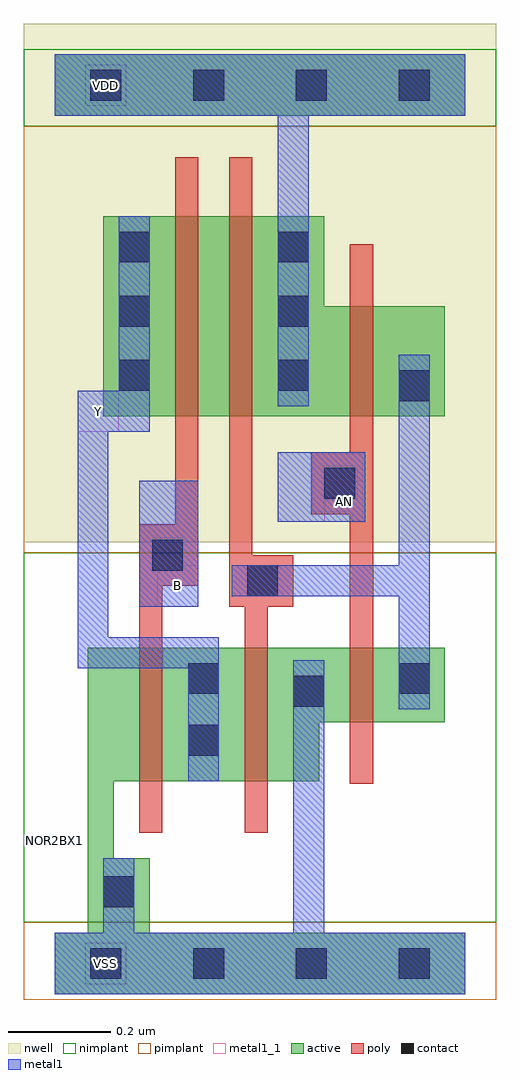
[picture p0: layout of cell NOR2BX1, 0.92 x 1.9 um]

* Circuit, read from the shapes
.subckt NOR2BX1 AN B VDD VSS Y
M1 Y B VSS VSS nfet w=0.26u l=0.045u
M2 VSS n1 Y VSS nfet w=0.26u l=0.045u
M3 n1 AN VSS VSS nfet w=0.145u l=0.045u
M4 n2 B Y VDD pfet w=0.39u l=0.045u
M5 VDD n1 n2 VDD pfet w=0.39u l=0.045u
M6 n1 AN VDD VDD pfet w=0.215u l=0.045u
.ends

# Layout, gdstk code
import gdstk
lib = gdstk.Library(unit=1e-6, precision=5e-10)
def R(c, l, rs):  # rectangles x0, y0, x1, y1
    for r in rs: c.add(gdstk.rectangle(r[:2], r[2:], *l))
def A(c, l, x, y, w, h, nx, ny, dx, dy):  # array of equal rectangles
    R(c, l, [(x+i*dx, y+j*dy, x+i*dx+w, y+j*dy+h) for i in range(nx) for j in range(ny)])
def P(c, l, *ps):  # polygons
    for p in ps: c.add(gdstk.Polygon(p, *l))
active = (1, 0)
nwell = (2, 0)
poly = (3, 0)
nimplant = (4, 0)
pimplant = (5, 0)
contact = (6, 0)
metal1 = (7, 0)
metal1_1 = (7, 1)

nor2bx1 = lib.new_cell('NOR2BX1')
R(nor2bx1, active, [(0,1.65,0.8,1.77)])
P(nor2bx1, active, [(0.8,0.06),(0.185,0.06),(0.185,0.205),(0.115,0.205),(0.115,0.355),(0.515,0.355),(0.515,0.47),(0.76,0.47),(0.76,0.615),(0.065,0.615),(0.065,0.06),(0,0.06),(0,-0.06),(0.8,-0.06)],
  [(0.76,1.28),(0.525,1.28),(0.525,1.455),(0.095,1.455),(0.095,1.065),(0.76,1.065)])
R(nor2bx1, nwell, [(-0.06,0.82,0.86,1.83)])
P(nor2bx1, poly, [(0.62,1.4),(0.575,1.4),(0.575,0.995),(0.5,0.995),(0.5,0.875),(0.575,0.875),(0.575,0.35),(0.62,0.35)],
  [(0.465,0.795),(0.385,0.795),(0.385,1.57),(0.34,1.57),(0.34,0.695),(0.37,0.695),(0.37,0.255),(0.415,0.255),(0.415,0.695),(0.465,0.695)],
  [(0.28,1.57),(0.235,1.57),(0.235,0.855),(0.165,0.855),(0.165,0.255),(0.21,0.255),(0.21,0.735),(0.28,0.735)])
R(nor2bx1, nimplant, [(-0.06,0.08,0.86,0.8), (-0.06,1.63,0.86,1.78)])
R(nor2bx1, pimplant, [(-0.06,-0.07,0.86,0.08), (-0.06,0.8,0.86,1.63)])
A(nor2bx1, contact, 0.07, -0.03, 0.06, 0.06, 4, 2, 0.2, 1.71)
A(nor2bx1, contact, 0.125, 1.115, 0.06, 0.06, 1, 3, 0, 0.125)
A(nor2bx1, contact, 0.435, 1.115, 0.06, 0.06, 1, 3, 0, 0.125)
R(nor2bx1, contact, [(0.095,0.11,0.155,0.17), (0.26,0.405,0.32,0.465), (0.465,0.5,0.525,0.56), (0.26,0.525,0.32,0.585), (0.67,0.525,0.73,0.585), (0.375,0.715,0.435,0.775), (0.19,0.765,0.25,0.825), (0.525,0.905,0.585,0.965), (0.67,1.095,0.73,1.155)])
R(nor2bx1, metal1, [(0.165,0.695,0.28,0.94), (0.435,0.86,0.605,0.995)])
P(nor2bx1, metal1, [(0.8,1.77),(0,1.77),(0,1.65),(0.435,1.65),(0.435,1.085),(0.495,1.085),(0.495,1.65),(0.8,1.65)],
  [(0.73,1.185),(0.67,1.185),(0.67,0.775),(0.345,0.775),(0.345,0.715),(0.67,0.715),(0.67,0.495),(0.73,0.495)],
  [(0.8,0.06),(0.525,0.06),(0.525,0.59),(0.465,0.59),(0.465,0.06),(0.155,0.06),(0.155,0.205),(0.095,0.205),(0.095,0.06),(0,0.06),(0,-0.06),(0.8,-0.06)],
  [(0.32,0.635),(0.105,0.635),(0.105,1.035),(0.185,1.035),(0.185,1.455),(0.125,1.455),(0.125,1.115),(0.045,1.115),(0.045,0.575),(0.26,0.575),(0.26,0.355),(0.32,0.355)])
R(nor2bx1, metal1_1, [(0.06,-0.04,0.14,0.04), (0.2,0.695,0.28,0.775), (0.525,0.86,0.605,0.94), (0.045,1.035,0.125,1.115), (0.06,1.67,0.14,1.75)])
nor2bx1.add(gdstk.Label('VSS', (0.1,0), layer=7, texttype=1))
nor2bx1.add(gdstk.Label('B', (0.24,0.735), layer=7, texttype=1))
nor2bx1.add(gdstk.Label('Y', (0.085,1.075), layer=7, texttype=1))
nor2bx1.add(gdstk.Label('AN', (0.565,0.9), layer=7, texttype=1))
nor2bx1.add(gdstk.Label('VDD', (0.1,1.71), layer=7, texttype=1))
nor2bx1.add(gdstk.Label('NOR2BX1', (0,0.24), layer=63, texttype=0))

lib.write_gds('NOR2BX1.gds')
